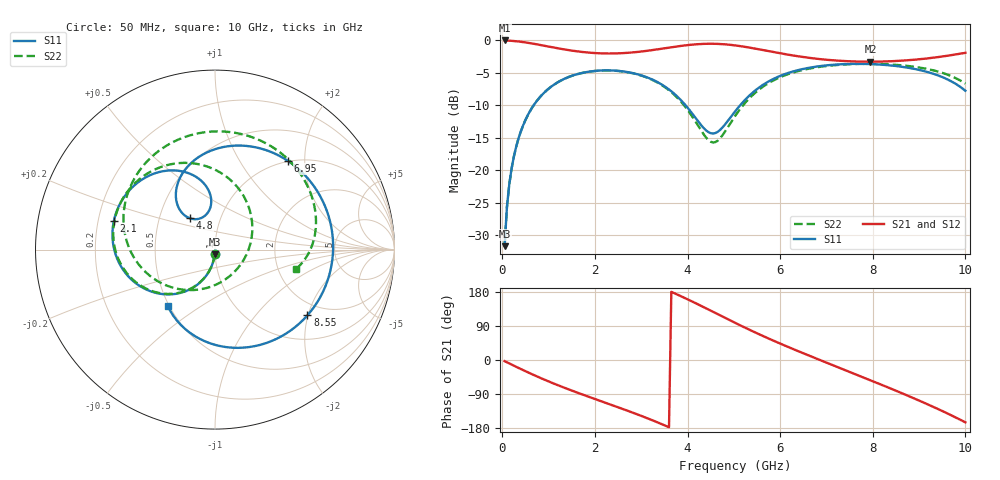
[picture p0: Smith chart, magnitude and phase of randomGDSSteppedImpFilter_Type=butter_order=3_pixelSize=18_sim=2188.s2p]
! freq	dB(S11)	phase(S11)	dB(S12)	phase(S12)
!  dB(S21)	phase(S21)	dB(S22)	phase(S22)
!S-par simulation data
#  GHz  S  DB  R 50
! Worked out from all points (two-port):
!   200 points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, 50 MHz to 10 GHz, reference 50 ohm
!   highest |S21| = -0.01 dB at 50 MHz (marker M1); lowest = -3.3 dB at 7.95 GHz (marker M2)
!   |S21| within 3 dB of the highest: start of sweep to 7.048 GHz; 8.842 GHz to end of sweep
!   lowest |S11| = -31.7 dB at 50 MHz (marker M3), VSWR 1.05, Z = 49.8 - j2.59 ohm
!   |S11| at or under -10 dB: start of sweep to 676.6 MHz; 3.959 GHz to 5.134 GHz (1.175 GHz wide, 25.8 % of centre)
!   |S22| runs from -31.7 to -3.6 dB; largest |S21 - S12| = 0
!   S11 on the Smith chart (normalised r, x): 50 MHz: 1.00, -0.05; 2.1 GHz: 0.27, +0.13; 4.8 GHz: 0.72, +0.26; 6.95 GHz: 0.99, +1.66; 8.55 GHz: 1.63, -1.98; 10 GHz: 0.49, -0.37
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0.05  -31.68 -93.1  -0.01 -3.1  -0.01 -3.1  -31.68 -93.1
0.1  -25.68 -96.3  -0.02 -6.1  -0.02 -6.1  -25.68 -96.4
0.2  -19.76 -102.5  -0.07 -12.0  -0.07 -12.0  -19.76 -102.6
0.5  -12.25 -119.9  -0.31 -29.6  -0.31 -29.6  -12.25 -120.3
1.05  -7.15 -149.2  -1.01 -59.1  -1.01 -59.1  -7.15 -150.1
1.75  -4.97 178.7  -1.80 -91.9  -1.80 -91.9  -4.98 176.5
2.1  -4.64 163.9  -1.98 -107.3  -1.98 -107.3  -4.65 160.6
2.85  -5.09 133.5  -1.83 -140.4  -1.83 -140.4  -5.12 125.4
3.4  -6.61 111.8  -1.33 -167.0  -1.33 -167.0  -6.69 94.8
4.1  -11.24 94.4  -0.65 154.4  -0.65 154.4  -11.70 37.7
4.5  -14.28 110.0  -0.51 130.2  -0.51 130.2  -15.60 -28.1
4.8  -13.03 128.7  -0.60 111.8  -0.60 111.8  -14.14 -89.1
5.05  -10.72 131.7  -0.79 96.7  -0.79 96.7  -11.40 -123.0
5.85  -5.94 104.5  -1.78 51.3  -1.78 51.3  -6.18 175.4
6.7  -4.12 63.2  -2.75 7.8  -2.75 7.8  -4.25 131.5
6.95  -3.88 50.5  -2.94 -4.5  -2.94 -4.5  -3.98 120.0
7.5  -3.62 21.9  -3.21 -31.3  -3.21 -31.3  -3.66 95.8
7.95  -3.64 -2.1  -3.27 -53.4  -3.27 -53.4  -3.61 76.4
8.35  -3.83 -24.1  -3.22 -73.4  -3.22 -73.4  -3.69 59.2
8.55  -3.99 -35.4  -3.15 -83.5  -3.15 -83.5  -3.79 50.5
9.3  -5.12 -80.1  -2.67 -123.3  -2.67 -123.3  -4.59 17.5
10  -7.75 -130.0  -1.91 -164.5  -1.91 -164.5  -6.66 -13.3
